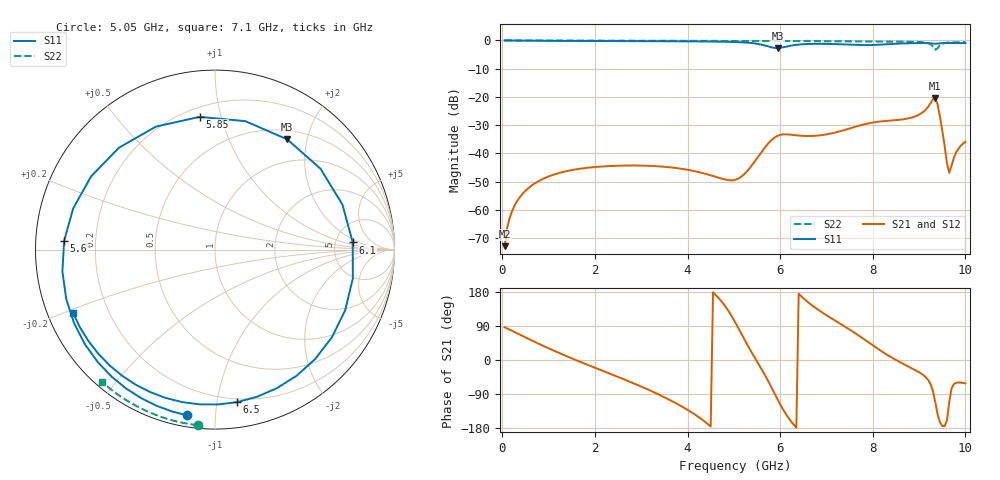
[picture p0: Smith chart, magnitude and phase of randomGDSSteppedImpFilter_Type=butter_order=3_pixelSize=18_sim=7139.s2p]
! freq	dB(S11)	phase(S11)	dB(S12)	phase(S12)
!  dB(S21)	phase(S21)	dB(S22)	phase(S22)
!S-par simulation data
#  GHz  S  DB  R 50
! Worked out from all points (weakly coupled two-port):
!   200 points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, 50 MHz to 10 GHz, reference 50 ohm
!   highest |S21| = -20.41 dB at 9.35 GHz (marker M1); lowest = -72.9 dB at 50 MHz (marker M2)
!   lowest |S11| = -2.7 dB at 5.95 GHz (marker M3), VSWR 6.53, Z = 31.4 + j83.7 ohm
!   |S11| at or under -10 dB: nowhere
!   |S22| runs from -3.3 to 0.0 dB; largest |S21 - S12| = 0
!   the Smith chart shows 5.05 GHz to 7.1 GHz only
!   S11 on the Smith chart (normalised r, x): 5.05 GHz: 0.06, -0.85; 5.6 GHz: 0.09, +0.03; 5.85 GHz: 0.26, +0.86; 6.1 GHz: 7.35, +1.43; 6.5 GHz: 0.18, -1.14; 7.1 GHz: 0.07, -0.21
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0.05  -0.00 -5.2  -72.92 86.4  -72.92 86.4  -0.00 -1.0
0.3  -0.04 -30.8  -57.50 71.5  -57.50 71.5  -0.01 -6.1
0.85  -0.11 -85.5  -49.29 39.2  -49.29 39.2  -0.02 -17.1
1.75  -0.18 -169.2  -45.31 -8.2  -45.31 -8.2  -0.04 -34.9
2.65  -0.24 109.8  -44.34 -52.1  -44.34 -52.1  -0.07 -52.2
3.4  -0.28 43.0  -44.64 -92.4  -44.64 -92.4  -0.09 -66.2
4.15  -0.34 -20.5  -46.33 -143.1  -46.33 -143.1  -0.11 -79.8
5.05  -0.57 -99.5  -49.29 94.9  -49.29 94.9  -0.15 -95.6
5.6  -1.49 176.7  -39.51 -24.4  -39.51 -24.4  -0.17 -105.1
5.85  -2.56 96.6  -34.77 -81.3  -34.77 -81.3  -0.19 -109.4
5.95  -2.68 56.7  -33.76 -105.3  -33.76 -105.3  -0.20 -111.1
6.1  -2.29 3.0  -33.28 -138.0  -33.28 -138.0  -0.21 -113.6
6.5  -1.33 -81.7  -33.84 163.2  -33.84 163.2  -0.23 -120.4
6.7  -1.20 -108.4  -33.85 143.2  -33.85 143.2  -0.25 -123.7
7.1  -1.25 -156.1  -32.97 110.5  -32.97 110.5  -0.28 -130.5
7.45  -1.47 157.1  -31.46 84.2  -31.46 84.2  -0.31 -136.5
7.8  -1.65 98.6  -29.79 55.8  -29.79 55.8  -0.34 -142.6
8.35  -1.29 1.9  -28.45 10.6  -28.45 10.6  -0.40 -152.5
8.8  -0.98 -53.1  -27.50 -19.0  -27.50 -19.0  -0.48 -161.4
9.35  -1.18 -96.0  -20.41 -110.9  -20.41 -110.9  -3.30 -172.2
9.65  -0.91 -113.2  -46.88 -112.8  -46.88 -112.8  -0.72 -170.0
10  -0.95 -131.7  -35.92 -61.7  -35.92 -61.7  -0.63 -179.2
